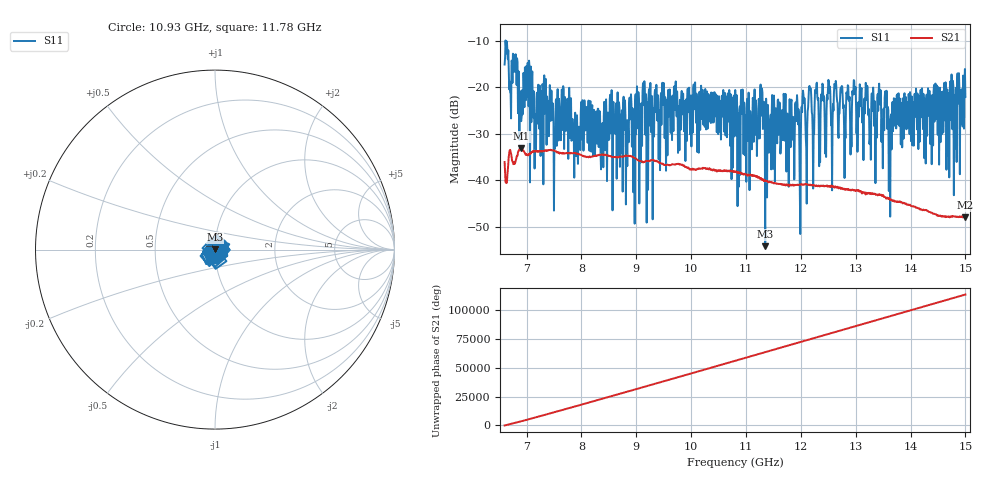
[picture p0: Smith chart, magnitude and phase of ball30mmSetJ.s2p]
!Keysight Technologies,N5235B,MY61252044,A.15.00.15
!Date: Friday, January 20, 2023 21:55:41
!Correction: S11(Off)
!S21(Off)
!S12(Off)
!S22(Off)
!S2P File: Measurements: S11, S21, S12, S22:
# Hz S  RI  R 50
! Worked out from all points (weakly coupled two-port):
!   1000 points, 6.6 GHz to 15 GHz, reference 50 ohm
!   highest |S21| = -33.09 dB at 6.903 GHz (marker M1); lowest = -48.0 dB at 14.99 GHz (marker M2)
!   lowest |S11| = -54.2 dB at 11.35 GHz (marker M3), VSWR 1.00, Z = 49.9 + j0.186 ohm
!   |S11| at or under -10 dB: start of sweep to 6.616603 GHz; 6.617 GHz to end of sweep
!   S12 and S22 are empty: the file has one direction only
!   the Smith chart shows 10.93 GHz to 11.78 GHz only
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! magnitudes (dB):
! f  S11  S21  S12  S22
! 6.6 GHz  -15.1  -36.0  -  -
! 6.701 GHz  -21.1  -33.4  -  -
! 6.793 GHz  -16.6  -36.2  -  -
! 6.903 GHz  -27.3  -33.1  -  -
! 7.012 GHz  -22.0  -34.5  -  -
! 7.155 GHz  -25.8  -33.7  -  -
! 8.004 GHz  -28.1  -34.6  -  -
! 9.4 GHz  -23.2  -36.0  -  -
! 10.8 GHz  -20.6  -38.2  -  -
! 11.3 GHz  -21.1  -39.8  -  -
! 11.35 GHz  -54.2  -40.0  -  -
! 11.98 GHz  -43.1  -40.9  -  -
! 12.17 GHz  -20.5  -40.9  -  -
! 12.2 GHz  -25.4  -41.0  -  -
! 12.97 GHz  -18.6  -42.1  -  -
! 13.27 GHz  -28.5  -42.8  -  -
! 13.55 GHz  -24.1  -43.9  -  -
! 13.6 GHz  -42.3  -44.0  -  -
! 13.74 GHz  -28.8  -44.6  -  -
! 14.8 GHz  -21.7  -47.7  -  -
! 14.99 GHz  -16.0  -48.0  -  -
! 15 GHz  -22.0  -47.9  -  -
